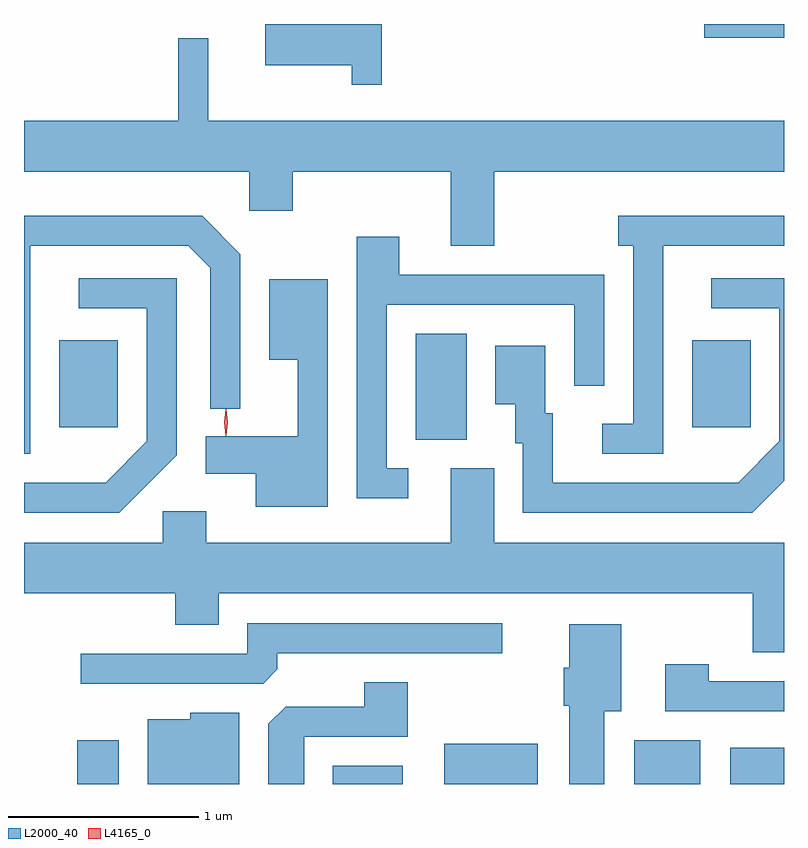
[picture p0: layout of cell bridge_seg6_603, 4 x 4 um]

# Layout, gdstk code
import gdstk
lib = gdstk.Library(unit=1e-6, precision=1e-09)
def R(c, l, rs):  # rectangles x0, y0, x1, y1
    for r in rs: c.add(gdstk.rectangle(r[:2], r[2:], *l))
def P(c, l, *ps):  # polygons
    for p in ps: c.add(gdstk.Polygon(p, *l))
L2000_40 = (2000, 40)
L4165_0 = (4165, 0)

bridge_seg6_603 = lib.new_cell('bridge_seg6_603')
R(bridge_seg6_603, L2000_40, [(202.716,1626.733,202.934,1626.964), (204.061,1626.733,204.429,1626.829), (204.646,1626.733,205.139,1626.944), (205.646,1626.733,205.994,1626.964), (206.151,1626.733,206.435,1626.924), (204.496,1628.546,204.764,1629.104), (202.621,1628.611,202.929,1629.069), (205.951,1628.611,206.259,1629.069), (206.016,1630.661,206.435,1630.733)])
P(bridge_seg6_603, L2000_40, [(204.319,1630.733),(203.706,1630.733),(203.706,1630.516),(204.161,1630.516),(204.161,1630.413),(204.319,1630.413)],
  [(204.909,1629.956),(206.435,1629.956),(206.435,1630.224),(203.404,1630.224),(203.404,1630.658),(203.246,1630.658),(203.246,1630.224),(202.435,1630.224),(202.435,1629.956),(203.621,1629.956),(203.621,1629.751),(203.849,1629.751),(203.849,1629.956),(204.681,1629.956),(204.681,1629.566),(204.909,1629.566)],
  [(205.799,1629.566),(206.435,1629.566),(206.435,1629.724),(205.563,1629.724),(205.563,1629.566),(205.641,1629.566),(205.641,1628.629),(205.478,1628.629),(205.478,1628.471),(205.799,1628.471)],
  [(202.469,1629.566),(203.299,1629.566),(203.416,1629.449),(203.416,1628.708),(203.574,1628.708),(203.574,1629.522),(203.372,1629.724),(202.435,1629.724),(202.435,1628.471),(202.469,1628.471)],
  [(204.458,1628.394),(204.344,1628.394),(204.344,1629.256),(205.331,1629.256),(205.331,1628.828),(205.489,1628.828),(205.489,1629.414),(204.409,1629.414),(204.409,1629.614),(204.186,1629.614),(204.186,1628.236),(204.458,1628.236)],
  [(203.239,1628.464),(203.239,1629.394),(202.723,1629.394),(202.723,1629.236),(203.081,1629.236),(203.081,1628.537),(202.864,1628.319),(202.435,1628.319),(202.435,1628.161),(202.937,1628.161)],
  [(206.435,1628.33),(206.435,1629.394),(206.053,1629.394),(206.053,1629.236),(206.411,1629.236),(206.411,1628.537),(206.194,1628.319),(205.219,1628.319),(205.219,1628.684),(205.179,1628.684),(205.179,1629.039),(204.916,1629.039),(204.916,1628.731),(205.021,1628.731),(205.021,1628.526),(205.061,1628.526),(205.061,1628.161),(206.267,1628.161)],
  [(204.034,1629.389),(203.726,1629.389),(203.726,1628.966),(203.876,1628.966),(203.876,1628.564),(203.391,1628.564),(203.391,1628.366),(203.656,1628.366),(203.656,1628.191),(204.034,1628.191)],
  [(206.435,1628.004),(204.909,1628.004),(204.909,1628.394),(204.681,1628.394),(204.681,1628.004),(203.394,1628.004),(203.394,1628.169),(203.166,1628.169),(203.166,1628.004),(202.435,1628.004),(202.435,1627.736),(203.231,1627.736),(203.231,1627.571),(203.459,1627.571),(203.459,1627.736),(206.271,1627.736),(206.271,1627.426),(206.435,1627.426)],
  [(203.769,1627.337),(203.769,1627.421),(204.953,1627.421),(204.953,1627.579),(203.611,1627.579),(203.611,1627.419),(202.733,1627.419),(202.733,1627.261),(203.694,1627.261)],
  [(205.489,1627.116),(205.579,1627.116),(205.579,1627.574),(205.306,1627.574),(205.306,1627.344),(205.276,1627.344),(205.276,1627.146),(205.306,1627.146),(205.306,1626.733),(205.489,1626.733)],
  [(206.435,1627.274),(206.039,1627.274),(206.039,1627.364),(205.811,1627.364),(205.811,1627.116),(206.435,1627.116)],
  [(203.909,1626.981),(204.454,1626.981),(204.454,1627.269),(204.226,1627.269),(204.226,1627.139),(203.812,1627.139),(203.721,1627.049),(203.721,1626.733),(203.909,1626.733)],
  [(203.569,1627.109),(203.311,1627.109),(203.311,1627.074),(203.086,1627.074),(203.086,1626.733),(203.569,1626.733)])
P(bridge_seg6_603, L4165_0, [(203.5,1628.569),(203.499,1628.57),(203.488,1628.636),(203.496,1628.702),(203.497,1628.702),(203.497,1628.702),(203.508,1628.636),(203.5,1628.57)],
  [(203.498,1628.566),(203.498,1628.567),(203.488,1628.636),(203.498,1628.705),(203.498,1628.705),(203.499,1628.705),(203.508,1628.636),(203.499,1628.567)])

lib.write_gds('bridge_seg6_603.gds')
